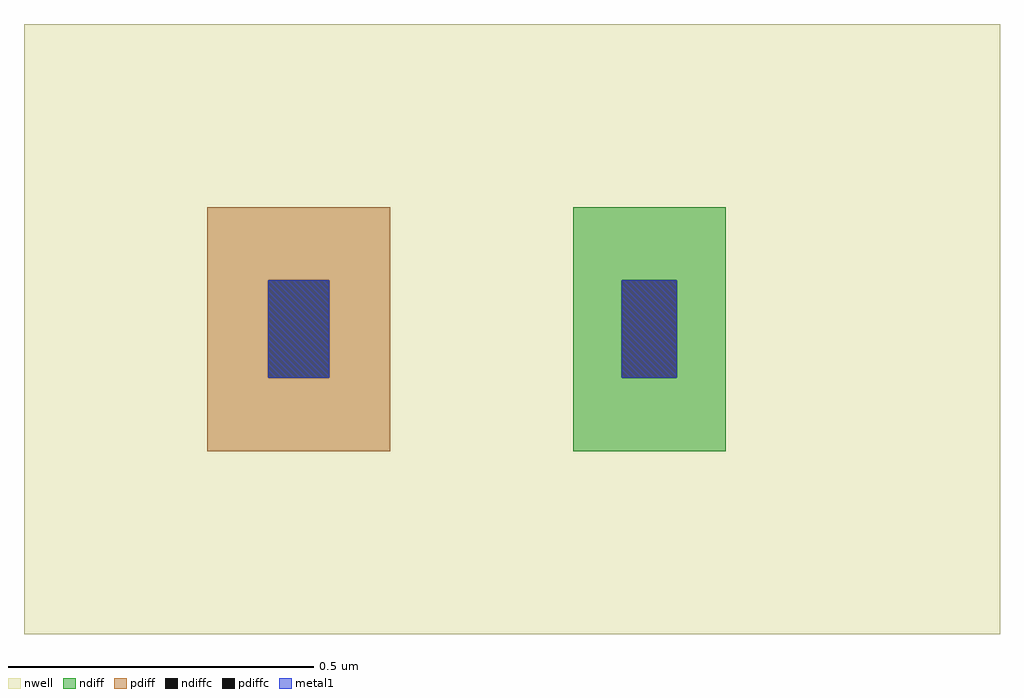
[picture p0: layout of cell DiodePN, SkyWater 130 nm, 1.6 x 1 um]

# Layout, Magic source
magic
tech sky130A
<< nwell >>
rect 0 0 160 100
<< ndiff >>
rect 90 58 115 70
rect 90 42 98 58
rect 107 42 115 58
rect 90 30 115 42
<< pdiff >>
rect 30 58 60 70
rect 30 42 40 58
rect 50 42 60 58
rect 30 30 60 42
<< ndiffc >>
rect 98 42 107 58
<< pdiffc >>
rect 40 42 50 58
<< metal1 >>
rect 40 42 50 58
rect 98 42 107 58
<< end >>
